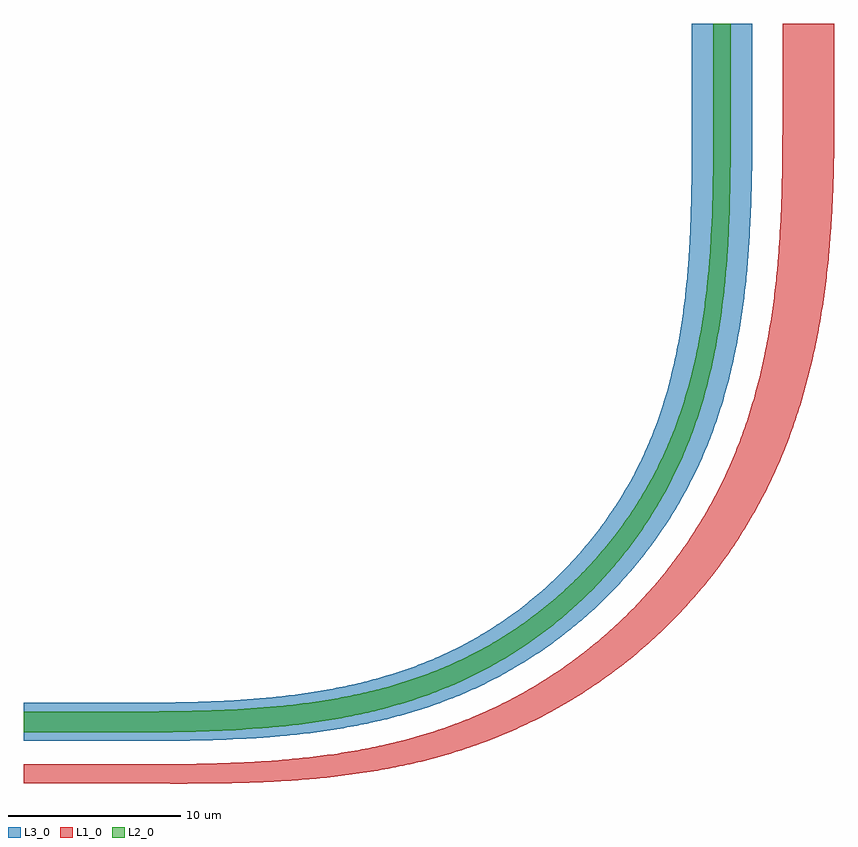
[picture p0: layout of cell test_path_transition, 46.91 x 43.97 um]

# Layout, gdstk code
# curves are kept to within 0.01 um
from math import pi, radians
import gdstk
lib = gdstk.Library(unit=1e-6, precision=1e-09)
def R(c, l, rs):  # rectangles x0, y0, x1, y1
    for r in rs: c.add(gdstk.rectangle(r[:2], r[2:], *l))
def P(c, l, *ps):  # polygons
    for p in ps: c.add(gdstk.Polygon(p, *l))
L1_0 = (1, 0)
L2_0 = (2, 0)
L3_0 = (3, 0)

unnamed_3201 = lib.new_cell('Unnamed_3201')
R(unnamed_3201, L1_0, [(0,-3.55,5,-2.45)])
R(unnamed_3201, L2_0, [(0,-0.6,5,0.6)])
R(unnamed_3201, L3_0, [(0,-1.1,5,1.1)])

unnamed_3203 = lib.new_cell('Unnamed_3203')
P(unnamed_3203, L1_0, [(3.474,-3.561),(0,-3.55),(0,-2.45),(4.238,-2.438),(6.783,-2.38),(8.166,-2.318),(9.358,-2.242),(10.355,-2.161),(11.756,-2.015),(12.961,-1.856),(13.967,-1.696),(14.973,-1.511),(15.98,-1.297),(16.985,-1.052),(17.988,-0.775),(18.986,-0.463),(19.978,-0.114),(20.769,0.194),(21.556,0.527),(22.908,1.169),(23.665,1.567),(24.225,1.882),(25.505,2.665),(26.217,3.144),(26.915,3.644),(28.1,4.572),(29.234,5.563),(30.164,6.461),(30.761,7.084),(31.339,7.726),(32.034,8.553),(32.435,9.063),(32.952,9.757),(33.448,10.467),(33.921,11.193),(34.373,11.934),(34.801,12.689),(35.205,13.458),(35.586,14.239),(35.941,15.03),(36.269,15.824),(36.572,16.625),(36.851,17.43),(37.107,18.239),(37.396,19.255),(37.553,19.866),(37.919,21.498),(38.074,22.314),(38.243,23.333),(38.388,24.349),(38.51,25.363),(38.693,27.379),(38.825,29.77),(38.89,32.323),(38.906,35.406),(41.906,35.406),(41.877,32.295),(41.793,29.882),(41.642,27.615),(41.451,25.724),(41.283,24.447),(41.115,23.375),(40.786,21.648),(40.592,20.781),(40.32,19.694),(40.077,18.824),(39.81,17.954),(39.518,17.086),(39.201,16.221),(38.857,15.36),(38.485,14.504),(38.085,13.653),(37.654,12.809),(37.313,12.187),(36.837,11.37),(36.336,10.571),(35.944,9.984),(35.401,9.216),(34.835,8.467),(34.246,7.738),(33.791,7.205),(33.165,6.512),(32.52,5.84),(32.023,5.35),(31.344,4.716),(30.648,4.105),(29.934,3.517),(29.204,2.953),(28.458,2.412),(27.698,1.895),(26.924,1.402),(26.137,0.934),(25.338,0.491),(24.528,0.073),(23.706,-0.319),(22.876,-0.686),(22.036,-1.028),(21.188,-1.344),(20.341,-1.632),(19.493,-1.893),(18.646,-2.129),(17.586,-2.391),(16.74,-2.575),(15.054,-2.884),(14.005,-3.039),(12.962,-3.169),(11.099,-3.345),(8.851,-3.477),(6.436,-3.545)])
P(unnamed_3203, L2_0, [(0,-0.6),(0,0.6),(3.614,0.615),(5.888,0.667),(7.964,0.768),(8.905,0.836),(10.218,0.959),(11.339,1.093),(12.269,1.227),(13.931,1.525),(14.846,1.724),(15.754,1.95),(16.653,2.204),(17.365,2.428),(18.071,2.671),(18.769,2.934),(19.461,3.219),(20.148,3.527),(20.824,3.855),(21.491,4.204),(22.631,4.864),(23.733,5.584),(24.345,6.022),(24.944,6.479),(25.956,7.322),(26.514,7.828),(27.056,8.35),(27.582,8.889),(28.091,9.445),(28.582,10.015),(29.056,10.601),(29.841,11.66),(30.264,12.284),(30.667,12.92),(31.05,13.569),(31.414,14.229),(32,15.41),(32.306,16.099),(32.589,16.792),(32.851,17.492),(33.093,18.2),(33.368,19.094),(33.568,19.817),(33.792,20.727),(33.991,21.645),(34.164,22.568),(34.315,23.497),(34.552,25.366),(34.729,27.436),(34.841,29.705),(34.892,31.981),(34.906,35.406),(35.906,35.406),(35.891,31.778),(35.845,29.671),(35.759,27.754),(35.599,25.644),(35.378,23.73),(35.236,22.775),(35.07,21.823),(34.753,20.309),(34.519,19.369),(34.31,18.621),(34.082,17.879),(33.769,16.96),(33.495,16.232),(33.197,15.509),(32.792,14.613),(32.532,14.084),(32.167,13.387),(31.781,12.702),(31.374,12.03),(30.946,11.37),(30.498,10.723),(30.031,10.09),(29.419,9.32),(28.909,8.722),(28.38,8.139),(27.834,7.572),(27.27,7.023),(26.69,6.491),(25.942,5.852),(25.326,5.362),(24.696,4.891),(24.051,4.439),(23.226,3.903),(22.551,3.497),(21.864,3.112),(21.165,2.749),(20.456,2.407),(19.736,2.087),(19.012,1.792),(18.099,1.454),(16.616,0.981),(15.114,0.586),(13.597,0.262),(11.879,-0.025),(11.113,-0.129),(9.77,-0.279),(7.85,-0.433),(5.738,-0.534),(3.247,-0.588)])
P(unnamed_3203, L3_0, [(0,-1.1),(0,1.1),(3.229,1.116),(5.869,1.185),(7.182,1.251),(8.302,1.329),(9.418,1.43),(10.343,1.533),(11.264,1.656),(12.361,1.83),(13.269,2),(14.169,2.194),(15.061,2.414),(15.943,2.659),(16.814,2.933),(17.673,3.235),(18.851,3.708),(20.011,4.248),(21.138,4.85),(22.23,5.511),(23.283,6.23),(24.153,6.891),(24.991,7.59),(25.531,8.078),(26.055,8.581),(26.563,9.1),(27.175,9.77),(27.645,10.322),(28.098,10.888),(28.533,11.468),(28.95,12.06),(29.445,12.817),(29.819,13.436),(30.175,14.065),(30.51,14.705),(30.902,15.518),(31.193,16.179),(31.463,16.846),(31.711,17.517),(31.995,18.367),(32.202,19.055),(32.436,19.925),(32.605,20.628),(32.927,22.228),(33.074,23.127),(33.2,24.032),(33.379,25.674),(33.515,27.515),(33.609,29.746),(33.65,32.184),(33.656,35.406),(37.156,35.406),(37.14,32.147),(37.077,29.63),(36.963,27.486),(36.794,25.529),(36.681,24.549),(36.547,23.568),(36.245,21.804),(36.084,21.023),(35.858,20.049),(35.656,19.273),(35.375,18.308),(35.127,17.541),(34.786,16.591),(34.488,15.838),(34.166,15.09),(33.819,14.348),(33.449,13.618),(33.057,12.901),(32.643,12.196),(32.207,11.505),(31.751,10.827),(31.273,10.165),(30.776,9.518),(30.26,8.887),(29.724,8.273),(29.17,7.675),(28.598,7.096),(28.009,6.534),(27.403,5.992),(26.781,5.468),(26.144,4.964),(25.491,4.48),(24.825,4.016),(23.973,3.466),(23.277,3.05),(22.569,2.656),(21.849,2.284),(21.119,1.934),(20.379,1.606),(19.631,1.302),(18.693,0.957),(17.936,0.706),(17.175,0.476),(16.409,0.266),(15.447,0.031),(14.675,-0.136),(13.707,-0.321),(11.96,-0.591),(10.989,-0.71),(9.823,-0.826),(7.883,-0.964),(5.755,-1.051),(3.445,-1.092)])

unnamed_3202 = lib.new_cell('Unnamed_3202')
R(unnamed_3202, L1_0, [(0,-6.5,5,-3.5)])
R(unnamed_3202, L2_0, [(0,-0.5,5,0.5)])
R(unnamed_3202, L3_0, [(0,-1.75,5,1.75)])

test_path_transition = lib.new_cell('test_path_transition')
test_path_transition.add(gdstk.Reference(unnamed_3201, (0,0)))
test_path_transition.add(gdstk.Reference(unnamed_3203, (5,0)))
test_path_transition.add(gdstk.Reference(unnamed_3202, (40.406,35.406), rotation=pi/2))

lib.write_gds('test_path_transition.gds')
